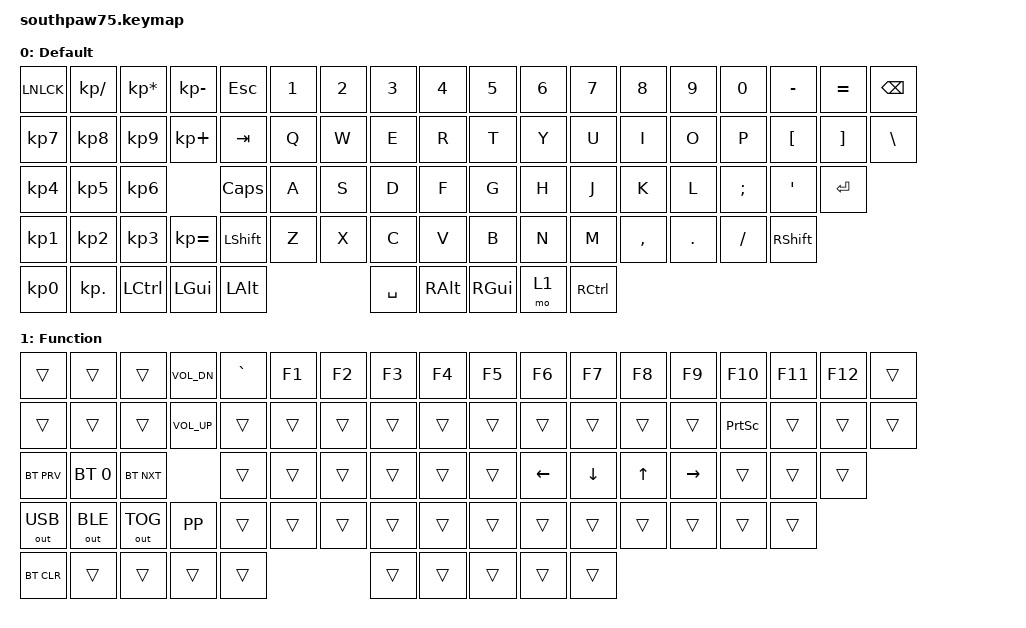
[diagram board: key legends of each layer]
#include <behaviors.dtsi>
#include <dt-bindings/zmk/keys.h>
#include <dt-bindings/zmk/bt.h>
#include <dt-bindings/zmk/outputs.h>

/ {
	keymap {
		compatible = "zmk,keymap";

		default_layer {
			label = "Default";
// ----------------------------------------------------------------------------------------------------------------------------------------------------------------------------------------------
// |  NLOCK  |    /    |    *    |    -    |   ESC   |    1    |    2    |    3    |    4    |    5    |    6    |    7    |    8    |    9    |    0    |    -    |    =    |      BKSPACE     |
// |    7    |    8    |    9    |    +    |      TAB     |    Q    |    W    |    E    |    R    |    T    |    Y    |    U    |    I    |    O    |    P    |    [    |    ]    |      \      |
// |    4    |    5    |    6    |         |    CAPSLOCK    |    A    |    S    |    D    |    F    |    G    |    H    |    J    |    K    |    L    |    ;    |    '    |        RETURN       |
// |    1    |    2    |    3    | RETURN  |        SHIFT        |    Z    |    X    |    C    |    V    |    B    |    N    |    M    |    ,    |    .    |    /    |           SHIFT          |
// |         0         |    .    |         |    CTRL    |    WIN    |    ALT    |                           SPACE                              |    ALT    |    WIN    |    MO 1   |    CTRL    |
// ----------------------------------------------------------------------------------------------------------------------------------------------------------------------------------------------
	
			bindings = <
			&kp LNLCK    &kp KP_SLASH    &kp KP_ASTERISK  &kp KP_MINUS    &kp ESC    &kp N1    &kp N2    &kp N3     &kp N4    &kp N5    &kp N6     &kp N7    &kp N8     &kp N9    &kp N0     &kp MINUS    &kp EQUAL    &kp BSPC
			&kp KP_N7    &kp KP_N8       &kp KP_N9        &kp KP_PLUS     &kp TAB    &kp Q     &kp W     &kp E      &kp R     &kp T     &kp Y      &kp U     &kp I      &kp O     &kp P      &kp LBKT     &kp RBKT     &kp BSLH
			&kp KP_N4    &kp KP_N5       &kp KP_N6                        &kp CLCK   &kp A     &kp S     &kp D      &kp F     &kp G     &kp H      &kp J     &kp K      &kp L     &kp SEMI   &kp APOS     &kp RETURN
			&kp KP_N1    &kp KP_N2       &kp KP_N3        &kp KP_EQUAL    &kp LSHFT  &kp Z     &kp X     &kp C      &kp V     &kp B     &kp N      &kp M     &kp COMMA  &kp DOT   &kp FSLH   &kp RSHFT
			&kp KP_N0                    &kp KP_DOT                       &kp LCTRL   &kp LGUI  &kp LALT  &kp SPACE  &kp RALT  &kp RGUI  &mo 1  &kp RCTRL    
			>;
		};
		
		
		
		function_layer {
			label = "Function";
// ----------------------------------------------------------------------------------------------------------------------------------------------------------------------------------------------
// |         |         |         | K_VOL_DN|  GRAVE  |    F1   |    F2   |    F3   |    F4   |    F5   |    F6   |    F7   |    F8   |    F9   |   F10   |   F11   |   F12   |                  |
// |         |         |         | K_VOL_UP|              |         |         |         |         |         |         |         |         |         |  PSCRN  |         |         |             |
// |  BT_PRV | BT_SEL 0|  BT_NXT |         |                |         |         |         |         |         |  LEFT   |  DOWN   |   UP    |  LEFT   |         |         |                     |
// | OUT_USB | OUT_BLE | OUT_TOG |  K_PP   |                     |         |         |         |         |         |         |         |         |         |         |                          |
// |       BT_CLR      |         |         |            |           |           |                                                              |           |           |           |            |
// ----------------------------------------------------------------------------------------------------------------------------------------------------------------------------------------------

			bindings = <
			&trans        &trans          &trans           &kp K_VOL_DN   &kp GRAVE  &kp F1    &kp F2    &kp F3     &kp F4    &kp F5    &kp F6     &kp F7    &kp F8     &kp F9    &kp F10    &kp F11      &kp F12     &trans
			&trans        &trans          &trans           &kp K_VOL_UP   &trans     &trans    &trans    &trans     &trans    &trans    &trans     &trans    &trans     &trans    &kp PSCRN  &trans       &trans      &trans
			&bt BT_PRV    &bt BT_SEL 0    &bt BT_NXT                      &trans     &trans    &trans    &trans     &trans    &trans    &kp LEFT   &kp DOWN  &kp UP     &kp RIGHT &trans     &trans       &trans
			&out OUT_USB  &out OUT_BLE    &out OUT_TOG     &kp K_PP       &trans     &trans    &trans    &trans     &trans    &trans    &trans     &trans    &trans     &trans    &trans     &trans
			&bt BT_CLR                    &trans                          &trans     &trans    &trans    &trans     &trans    &trans    &trans      &trans
			>;
		};
	};
};
